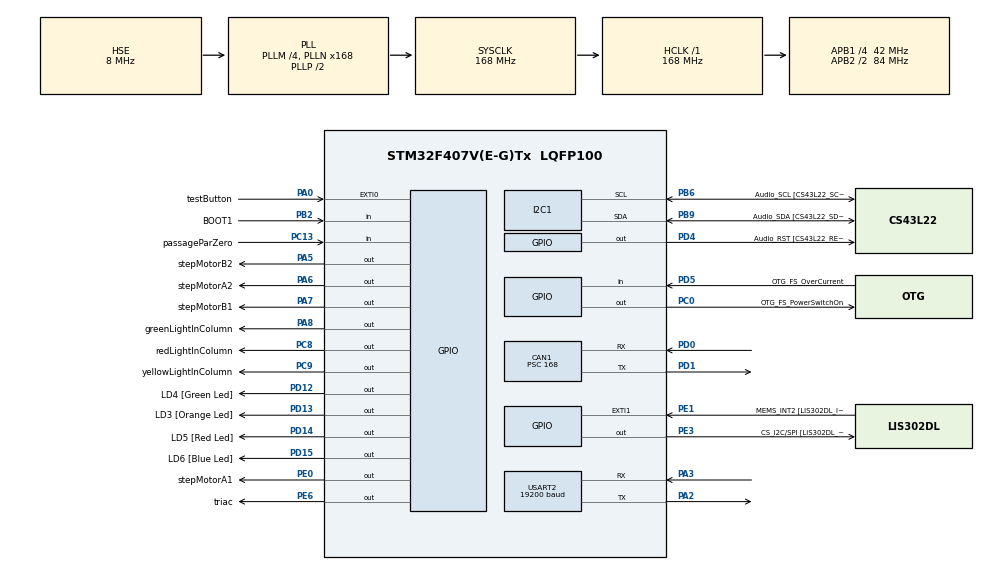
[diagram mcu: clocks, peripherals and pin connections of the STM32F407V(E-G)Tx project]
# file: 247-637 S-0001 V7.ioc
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Mcu.Family=STM32F4
PA11.GPIO_Speed=GPIO_SPEED_FREQ_LOW
PC3.GPIO_Mode=GPIO_MODE_AF_PP
PD12.GPIO_Label=LD4 [Green Led]
PH0-OSC_IN.Signal=RCC_OSC_IN
RCC.CortexFreq_Value=168000000
PC10.GPIO_PuPd=GPIO_NOPULL
PB10.GPIO_Speed=GPIO_SPEED_FREQ_LOW
PB6.GPIO_Mode=GPIO_MODE_AF_OD
PB10.GPIO_PuPd=GPIO_NOPULL
NVIC.TIM6_DAC_IRQn=true\:0\:0\:false\:false\:true\:true\:true
PA10.GPIO_PuPd=GPIO_NOPULL
PD15.GPIO_Speed=GPIO_SPEED_FREQ_LOW
PC10.Signal=I2S3_CK
PC12.Signal=I2S3_SD
PA14.GPIO_Label=SWCLK
PC0.GPIO_Label=OTG_FS_PowerSwitchOn
PA6.GPIO_Label=stepMotorA2
PB6.GPIO_Label=Audio_SCL [CS43L22_SCL]
PC10.GPIO_Speed=GPIO_SPEED_FREQ_LOW
PA11.GPIO_PuPd=GPIO_NOPULL
PC15-OSC32_OUT.GPIO_Label=PC15-OSC32_OUT
PE6.GPIO_Label=triac
PC3.GPIO_Speed=GPIO_SPEED_FREQ_LOW
RCC.SYSCLKSource=RCC_SYSCLKSOURCE_PLLCLK
ProjectManager.StackSize=0x400
PD13.Signal=GPIO_Output
PD14.GPIO_Speed=GPIO_SPEED_FREQ_LOW
PA12.Signal=USB_OTG_FS_DP
RCC.HCLKFreq_Value=168000000
PD4.Signal=GPIO_Output
RCC.APB2TimFreq_Value=168000000
PB6.Signal=I2C1_SCL
PC7.Signal=I2S3_MCK
PB6.Mode=I2C
PC3.Signal=I2S2_SD
PD0.Signal=CAN1_RX
PE1.Signal=GPXTI1
RCC.AHBFreq_Value=168000000
PH0-OSC_IN.Mode=HSE-External-Oscillator
PH0-OSC_IN.GPIO_Label=PH0-OSC_IN
PA9.GPIO_Mode=GPIO_MODE_INPUT
RCC.HSE_VALUE=8000000
PB2.Signal=GPIO_Input
PC13-ANTI_TAMP.Signal=GPIO_Input
PA10.GPIO_Label=OTG_FS_ID
PC7.GPIO_Mode=GPIO_MODE_AF_PP
PD5.GPIO_Mode=GPIO_MODE_INPUT
PD14.GPIO_PuPd=GPIO_NOPULL
PA8.Signal=GPIO_Output
TIM6.Period=PILOTETIMER6UP_COMPTE_MAXIMAL
PB2.GPIO_PuPd=GPIO_NOPULL
PH1-OSC_OUT.Mode=HSE-External-Oscillator
PD13.GPIO_Label=LD3 [Orange Led]
CAN1.Prescaler=168
Mcu.Package=LQFP100
PB9.Signal=I2C1_SDA
PA6.Signal=GPIO_Output
USART2.VirtualMode=VM_ASYNC
PD12.Signal=GPIO_Output
PD5.GPIO_Label=OTG_FS_OverCurrent
PD15.GPIO_PuPd=GPIO_NOPULL
PA10.Signal=USB_OTG_FS_ID
PB9.GPIO_PuPd=GPIO_NOPULL
PE0.GPIO_Label=stepMotorA1
PA10.GPIO_Speed=GPIO_SPEED_FREQ_LOW
RCC.APB2CLKDivider=RCC_HCLK_DIV2
PB9.GPIO_Speed=GPIO_SPEED_FREQ_LOW
RCC.APB1TimFreq_Value=84000000
PC14-OSC32_IN.GPIO_Label=PC14-OSC32_IN
PC12.GPIO_PuPd=GPIO_NOPULL
PC0.GPIO_PuPd=GPIO_NOPULL
PA12.GPIO_PuPd=GPIO_NOPULL
PD15.Signal=GPIO_Output
PC0.PinState=GPIO_PIN_SET
PA12.GPIO_Speed=GPIO_SPEED_FREQ_LOW
PA3.Signal=USART2_RX
CAN1.CalculateTimeQuantum=4000.0
PB3.GPIO_Label=SWO
RCC.PLLSourceVirtual=RCC_PLLSOURCE_HSE
PD12.GPIO_Speed=GPIO_SPEED_FREQ_LOW
PD15.GPIO_Label=LD6 [Blue Led]
PB9.GPIO_Label=Audio_SDA [CS43L22_SDA]
PC10.GPIO_Label=I2S3_SCK [CS43L22_SCLK]
PC9.GPIO_Label=yellowLightInColumn
PC13-ANTI_TAMP.GPIO_Label=passageParZero
PA9.GPIO_Label=VBUS_FS
PB6.GPIO_PuPd=GPIO_NOPULL
PC8.Signal=GPIO_Output
VP_TIM6_VS_ClockSourceINT.Mode=Enable_Timer
PD1.Signal=CAN1_TX
PA11.GPIO_Label=OTG_FS_DM
PE1.GPIO_PuPd=GPIO_NOPULL
PD5.Signal=GPIO_Input
PC0.Signal=GPIO_Output
PE1.GPIO_ModeDefaultEXTI=GPIO_MODE_EVT_RISING
RCC.APB1CLKDivider=RCC_HCLK_DIV4
PC14-OSC32_IN.Signal=RCC_OSC32_IN
PA9.GPIO_PuPd=GPIO_NOPULL
USART2.BaudRate=19200
PA12.GPIO_Label=OTG_FS_DP
PA0-WKUP.GPIO_Label=testButton
PA0-WKUP.Signal=GPXTI0
PA10.GPIO_Mode=GPIO_MODE_AF_PP
PC8.GPIO_Label=redLightInColumn
PA3.Mode=Asynchronous
PA13.Signal=SYS_JTMS-SWDIO
PC10.GPIO_Mode=GPIO_MODE_AF_PP
PD4.GPIO_PuPd=GPIO_NOPULL
PC0.GPIO_Speed=GPIO_SPEED_FREQ_LOW
PB10.GPIO_Mode=GPIO_MODE_AF_PP
PA8.GPIO_Label=greenLightInColumn
CAN1.BS1=CAN_BS1_3TQ
ProjectManager.TargetToolchain=EWARM V7
PB10.GPIO_Label=CLK_IN [MP45DT02_CLK]
PB9.Mode=I2C
PA9.Signal=USB_OTG_FS_VBUS
PC7.GPIO_PuPd=GPIO_NOPULL
RCC.LSE_VALUE=32768
PC15-OSC32_OUT.Signal=RCC_OSC32_OUT
PB10.Signal=I2S2_CK
PA5.Signal=GPIO_Output
board=STM32F407G-DISC1
PD13.GPIO_Speed=GPIO_SPEED_FREQ_LOW
PC7.GPIO_Speed=GPIO_SPEED_FREQ_LOW
RCC.VCOOutputFreq_Value=336000000
PE1.GPIO_Label=MEMS_INT2 [LIS302DL_INT2]
PD1.Mode=Master
PB9.GPIO_Mode=GPIO_MODE_AF_OD
PA12.GPIO_Mode=GPIO_MODE_AF_PP
RCC.APB2Freq_Value=84000000
PB2.GPIO_Mode=GPIO_MODE_INPUT
PD4.GPIO_Label=Audio_RST [CS43L22_RESET]
PD4.GPIO_Speed=GPIO_SPEED_FREQ_LOW
CAN1.Mode=CAN_MODE_LOOPBACK
TIM6.TIM_MasterOutputTrigger=TIM_TRGO_ENABLE
PE3.GPIO_PuPd=GPIO_NOPULL
PH1-OSC_OUT.Signal=RCC_OSC_OUT
PD13.GPIO_PuPd=GPIO_NOPULL
PD5.GPIO_PuPd=GPIO_NOPULL
PD14.GPIO_Label=LD5 [Red Led]
PH1-OSC_OUT.GPIO_Label=PH1-OSC_OUT
PE6.Signal=GPIO_Output
Mcu.Name=STM32F407V(E-G)Tx
PE0.Signal=GPIO_Output
PD0.Mode=Master
PA2.Signal=USART2_TX
PA13.GPIO_Label=SWDIO
PC7.GPIO_Label=I2S3_MCK [CS43L22_MCLK]
PD14.Signal=GPIO_Output
RCC.48MHZClocksFreq_Value=48000000
PB3.Signal=SYS_JTDO-SWO
RCC.SYSCLKFreq_VALUE=168000000
PC12.GPIO_Mode=GPIO_MODE_AF_PP
PA7.GPIO_Label=stepMotorB1
PA5.GPIO_Label=stepMotorB2
PE3.GPIO_Speed=GPIO_SPEED_FREQ_LOW
PC12.GPIO_Label=I2S3_SD [CS43L22_SDIN]
PA11.Signal=USB_OTG_FS_DM
PA14.Signal=SYS_JTCK-SWCLK
PB2.GPIO_Label=BOOT1
ProjectManager.HeapSize=0x200
RCC.HSI_VALUE=16000000
RCC.PLLQ=7
NVIC.PriorityGroup=NVIC_PRIORITYGROUP_0
RCC.PLLM=4
RCC.PLLN=168
PE3.Signal=GPIO_Output
PA2.Mode=Asynchronous
PE3.GPIO_Label=CS_I2C/SPI [LIS302DL_CS_I2C/SPI]
PC3.GPIO_Label=PDM_OUT [MP45DT02_DOUT]
PC9.Signal=GPIO_Output
PA11.GPIO_Mode=GPIO_MODE_AF_PP
PB6.GPIO_Speed=GPIO_SPEED_FREQ_LOW
RCC.APB1Freq_Value=42000000
PC12.GPIO_Speed=GPIO_SPEED_FREQ_LOW
PC3.GPIO_PuPd=GPIO_NOPULL
PD12.GPIO_PuPd=GPIO_NOPULL
PA7.Signal=GPIO_Output

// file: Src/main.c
/* USER CODE BEGIN Header */
/**
  ******************************************************************************
  * @file           : main.c
  * @brief          : Main program body
  ******************************************************************************
  * @attention
  *
  * <h2><center>&copy; Copyright (c) 2019 STMicroelectronics.
  * All rights reserved.</center></h2>
  *
  * This software component is licensed by ST under BSD 3-Clause license,
  * the "License"; You may not use this file except in compliance with the
  * License. You may obtain a copy of the License at:
  *                        opensource.org/licenses/BSD-3-Clause
  *
  ******************************************************************************
  */
/* USER CODE END Header */

#include "main.h"

/* USER CODE BEGIN Includes */
//S-0010:
//Historique:
// 2019-10-27, Yves Roy, creation
// 2020-11-18, John-William Lebel, modification with CubeMX, removed files, added files, modified files
// 2020-11-21, John-William Lebel, significant mods

//notes sur l'utilisation des timers.
// https://www.st.com/content/ccc/resource/technical/document/application_note/group0/91/01/84/3f/7c/67/41/3f/DM00236305/files/DM00236305.pdf/jcr:content/translations/en.DM00236305.pdf
//https://stm32f4-discovery.net/2014/05/stm32f4-stm32f429-discovery-pwm-tutorial/
//timer 6 sur APB1
//timer_tick_frequency = Timer_default_frequency / (prescaller_set + 1)
//default_frequency = 84MHz compte tenu des options choisies avec le "cube"
//TIM_Period = timer_tick_frequency / TIM_frequency - 1
//il faut s'assurer que le compte pour la periode est plus petit que 65536

#include "driver/timer/piloteTimer6Up.h"
#include "driver/communication/piloteCAN1.h"

#include "interface/carteIO/interface_mcp3021.h"
#include "interface/carteIO/interface_pcf8574A.h"
#include "interface/carteTriac/interface_stepperMotor.h"

#include "service/baseDeTemps/serviceBaseDeTemps.h"
#include "service/communication/service_can.h"
#include "service/appInput/service_applicationInputHandler.h"
#include "service/appOutput/service_applicationOutputHandler.h"

#include "process/centreDeTri/process_centreDeTri.h"

/* USER CODE END Includes */

CAN_HandleTypeDef hcan1;

I2C_HandleTypeDef hi2c1;

TIM_HandleTypeDef htim6;

UART_HandleTypeDef huart2;

/* USER CODE BEGIN PV */
/* Private variables ---------------------------------------------------------*/

/* USER CODE END PV */

void SystemClock_Config(void);
static void MX_GPIO_Init(void);
static void MX_USART2_UART_Init(void);
static void MX_TIM6_Init(void);
static void MX_CAN1_Init(void);
static void MX_I2C1_Init(void);
/* USER CODE BEGIN PFP */
/* Private function prototypes -----------------------------------------------*/
void main_initialiseAvantLeHAL(void);
void main_initialiseApresLeHAL(void);
/* USER CODE END PFP */

/* USER CODE BEGIN 0 */
void main_initialiseAvantLeHAL(void) {
    piloteTimer6Up_initialise();
    piloteCAN1_initialise();

    serviceBaseDeTemps_initialise();
}

void main_initialiseApresLeHAL(void) {
  piloteCAN1_initialise();
  piloteTimer6Up_permetLesInterruptions();

  interface_mcp3021_init();
  interface_pcf8574A_init();
  interface_stepperMotor_init();

  service_applicationInputHandler_init();
  service_applicationOutputHandler_init();

  process_centreDeTri_init();
}

void neFaitRien(void) {}
/* USER CODE END 0 */

int main(void)
{
  /* USER CODE BEGIN 1 */
  main_initialiseAvantLeHAL();
  /* USER CODE END 1 */

  /* MCU Configuration--------------------------------------------------------*/

  /* Reset of all peripherals, Initializes the Flash interface and the Systick. */
  HAL_Init();

  /* Configure the system clock */
  SystemClock_Config();

  /* Initialize all configured peripherals */
  MX_GPIO_Init();
  MX_USART2_UART_Init();
  MX_TIM6_Init();
  MX_CAN1_Init();
  MX_I2C1_Init();
  /* USER CODE BEGIN 2 */
  main_initialiseApresLeHAL();

  /* USER CODE END 2 */

  /* Infinite loop */
  /* USER CODE BEGIN WHILE */
  while (1) {
    // program behaviour handled in timer and interrupts
    /* USER CODE END WHILE */

  }
}

void SystemClock_Config(void)
{
  RCC_OscInitTypeDef RCC_OscInitStruct = {0};
  RCC_ClkInitTypeDef RCC_ClkInitStruct = {0};

  /** Configure the main internal regulator output voltage
  */
  __HAL_RCC_PWR_CLK_ENABLE();
  __HAL_PWR_VOLTAGESCALING_CONFIG(PWR_REGULATOR_VOLTAGE_SCALE1);
  /** Initializes the CPU, AHB and APB busses clocks
  */
  RCC_OscInitStruct.OscillatorType = RCC_OSCILLATORTYPE_HSE;
  RCC_OscInitStruct.HSEState = RCC_HSE_ON;
  RCC_OscInitStruct.PLL.PLLState = RCC_PLL_ON;
  RCC_OscInitStruct.PLL.PLLSource = RCC_PLLSOURCE_HSE;
  RCC_OscInitStruct.PLL.PLLM = 4;
  RCC_OscInitStruct.PLL.PLLN = 168;
  RCC_OscInitStruct.PLL.PLLP = RCC_PLLP_DIV2;
  RCC_OscInitStruct.PLL.PLLQ = 7;
  if (HAL_RCC_OscConfig(&RCC_OscInitStruct) != HAL_OK)
  {
    Error_Handler();
  }
  /** Initializes the CPU, AHB and APB busses clocks
  */
  RCC_ClkInitStruct.ClockType = RCC_CLOCKTYPE_HCLK|RCC_CLOCKTYPE_SYSCLK
                              |RCC_CLOCKTYPE_PCLK1|RCC_CLOCKTYPE_PCLK2;
  RCC_ClkInitStruct.SYSCLKSource = RCC_SYSCLKSOURCE_PLLCLK;
  RCC_ClkInitStruct.AHBCLKDivider = RCC_SYSCLK_DIV1;
  RCC_ClkInitStruct.APB1CLKDivider = RCC_HCLK_DIV4;
  RCC_ClkInitStruct.APB2CLKDivider = RCC_HCLK_DIV2;

  if (HAL_RCC_ClockConfig(&RCC_ClkInitStruct, FLASH_LATENCY_5) != HAL_OK)
  {
    Error_Handler();
  }
}

static void MX_CAN1_Init(void)
{

  hcan1.Instance = CAN1;
  hcan1.Init.Prescaler = 168;
  hcan1.Init.Mode = CAN_MODE_LOOPBACK;
  hcan1.Init.SyncJumpWidth = CAN_SJW_1TQ;
  hcan1.Init.TimeSeg1 = CAN_BS1_3TQ;
  hcan1.Init.TimeSeg2 = CAN_BS2_1TQ;
  hcan1.Init.TimeTriggeredMode = DISABLE;
  hcan1.Init.AutoBusOff = DISABLE;
  hcan1.Init.AutoWakeUp = DISABLE;
  hcan1.Init.AutoRetransmission = DISABLE;
  hcan1.Init.ReceiveFifoLocked = DISABLE;
  hcan1.Init.TransmitFifoPriority = DISABLE;
  if (HAL_CAN_Init(&hcan1) != HAL_OK)
  {
    Error_Handler();
  }
  /* USER CODE BEGIN CAN1_Init 2 */
  hcan1.Init.Mode = CAN_MODE_NORMAL;
  /* USER CODE END CAN1_Init 2 */

}

static void MX_I2C1_Init(void)
{

  hi2c1.Instance = I2C1;
  hi2c1.Init.ClockSpeed = 100000;
  hi2c1.Init.DutyCycle = I2C_DUTYCYCLE_2;
  hi2c1.Init.OwnAddress1 = 0;
  hi2c1.Init.AddressingMode = I2C_ADDRESSINGMODE_7BIT;
  hi2c1.Init.DualAddressMode = I2C_DUALADDRESS_DISABLE;
  hi2c1.Init.OwnAddress2 = 0;
  hi2c1.Init.GeneralCallMode = I2C_GENERALCALL_DISABLE;
  hi2c1.Init.NoStretchMode = I2C_NOSTRETCH_DISABLE;
  if (HAL_I2C_Init(&hi2c1) != HAL_OK)
  {
    Error_Handler();
  }

}

static void MX_TIM6_Init(void)
{

  TIM_MasterConfigTypeDef sMasterConfig = {0};

  htim6.Instance = TIM6;
  htim6.Init.Prescaler = 0;
  htim6.Init.CounterMode = TIM_COUNTERMODE_UP;
  htim6.Init.Period = PILOTETIMER6UP_COMPTE_MAXIMAL;
  htim6.Init.AutoReloadPreload = TIM_AUTORELOAD_PRELOAD_DISABLE;
  if (HAL_TIM_Base_Init(&htim6) != HAL_OK)
  {
    Error_Handler();
  }
  sMasterConfig.MasterOutputTrigger = TIM_TRGO_ENABLE;
  sMasterConfig.MasterSlaveMode = TIM_MASTERSLAVEMODE_DISABLE;
  if (HAL_TIMEx_MasterConfigSynchronization(&htim6, &sMasterConfig) != HAL_OK)
  {
    Error_Handler();
  }

}

static void MX_USART2_UART_Init(void)
{

  huart2.Instance = USART2;
  huart2.Init.BaudRate = 19200;
  huart2.Init.WordLength = UART_WORDLENGTH_8B;
  huart2.Init.StopBits = UART_STOPBITS_1;
  huart2.Init.Parity = UART_PARITY_NONE;
  huart2.Init.Mode = UART_MODE_TX_RX;
  huart2.Init.HwFlowCtl = UART_HWCONTROL_NONE;
  huart2.Init.OverSampling = UART_OVERSAMPLING_16;
  if (HAL_UART_Init(&huart2) != HAL_OK)
  {
    Error_Handler();
  }

}

static void MX_GPIO_Init(void)
{
  GPIO_InitTypeDef GPIO_InitStruct = {0};

  /* GPIO Ports Clock Enable */
  __HAL_RCC_GPIOE_CLK_ENABLE();
  __HAL_RCC_GPIOC_CLK_ENABLE();
  __HAL_RCC_GPIOH_CLK_ENABLE();
  __HAL_RCC_GPIOA_CLK_ENABLE();
  __HAL_RCC_GPIOB_CLK_ENABLE();
  __HAL_RCC_GPIOD_CLK_ENABLE();

  /*Configure GPIO pin Output Level */
  HAL_GPIO_WritePin(GPIOE, CS_I2C_SPI_Pin|triac_Pin|stepMotorA1_Pin, GPIO_PIN_RESET);

  /*Configure GPIO pin Output Level */
  HAL_GPIO_WritePin(OTG_FS_PowerSwitchOn_GPIO_Port, OTG_FS_PowerSwitchOn_Pin, GPIO_PIN_SET);

  /*Configure GPIO pin Output Level */
  HAL_GPIO_WritePin(GPIOA, stepMotorB2_Pin|stepMotorA2_Pin|stepMotorB1_Pin|greenLightInColumn_Pin, GPIO_PIN_RESET);

  /*Configure GPIO pin Output Level */
  HAL_GPIO_WritePin(GPIOD, LD4_Pin|LD3_Pin|LD5_Pin|LD6_Pin
                          |Audio_RST_Pin, GPIO_PIN_RESET);

  /*Configure GPIO pin Output Level */
  HAL_GPIO_WritePin(GPIOC, redLightInColumn_Pin|yellowLightInColumn_Pin, GPIO_PIN_RESET);

  /*Configure GPIO pins : CS_I2C_SPI_Pin triac_Pin stepMotorA1_Pin */
  GPIO_InitStruct.Pin = CS_I2C_SPI_Pin|triac_Pin|stepMotorA1_Pin;
  GPIO_InitStruct.Mode = GPIO_MODE_OUTPUT_PP;
  GPIO_InitStruct.Pull = GPIO_NOPULL;
  GPIO_InitStruct.Speed = GPIO_SPEED_FREQ_LOW;
  HAL_GPIO_Init(GPIOE, &GPIO_InitStruct);

  /*Configure GPIO pin : passageParZero_Pin */
  GPIO_InitStruct.Pin = passageParZero_Pin;
  GPIO_InitStruct.Mode = GPIO_MODE_INPUT;
  GPIO_InitStruct.Pull = GPIO_NOPULL;
  HAL_GPIO_Init(passageParZero_GPIO_Port, &GPIO_InitStruct);

  /*Configure GPIO pins : OTG_FS_PowerSwitchOn_Pin redLightInColumn_Pin yellowLightInColumn_Pin */
  GPIO_InitStruct.Pin = OTG_FS_PowerSwitchOn_Pin|redLightInColumn_Pin|yellowLightInColumn_Pin;
  GPIO_InitStruct.Mode = GPIO_MODE_OUTPUT_PP;
  GPIO_InitStruct.Pull = GPIO_NOPULL;
  GPIO_InitStruct.Speed = GPIO_SPEED_FREQ_LOW;
  HAL_GPIO_Init(GPIOC, &GPIO_InitStruct);

  /*Configure GPIO pin : PDM_OUT_Pin */
  GPIO_InitStruct.Pin = PDM_OUT_Pin;
  GPIO_InitStruct.Mode = GPIO_MODE_AF_PP;
  GPIO_InitStruct.Pull = GPIO_NOPULL;
  GPIO_InitStruct.Speed = GPIO_SPEED_FREQ_LOW;
  GPIO_InitStruct.Alternate = GPIO_AF5_SPI2;
  HAL_GPIO_Init(PDM_OUT_GPIO_Port, &GPIO_InitStruct);

  /*Configure GPIO pin : testButton_Pin */
  GPIO_InitStruct.Pin = testButton_Pin;
  GPIO_InitStruct.Mode = GPIO_MODE_IT_RISING;
  GPIO_InitStruct.Pull = GPIO_NOPULL;
  HAL_GPIO_Init(testButton_GPIO_Port, &GPIO_InitStruct);

  /*Configure GPIO pins : stepMotorB2_Pin stepMotorA2_Pin stepMotorB1_Pin greenLightInColumn_Pin */
  GPIO_InitStruct.Pin = stepMotorB2_Pin|stepMotorA2_Pin|stepMotorB1_Pin|greenLightInColumn_Pin;
  GPIO_InitStruct.Mode = GPIO_MODE_OUTPUT_PP;
  GPIO_InitStruct.Pull = GPIO_NOPULL;
  GPIO_InitStruct.Speed = GPIO_SPEED_FREQ_LOW;
  HAL_GPIO_Init(GPIOA, &GPIO_InitStruct);

  /*Configure GPIO pin : BOOT1_Pin */
  GPIO_InitStruct.Pin = BOOT1_Pin;
  GPIO_InitStruct.Mode = GPIO_MODE_INPUT;
  GPIO_InitStruct.Pull = GPIO_NOPULL;
  HAL_GPIO_Init(BOOT1_GPIO_Port, &GPIO_InitStruct);

  /*Configure GPIO pin : CLK_IN_Pin */
  GPIO_InitStruct.Pin = CLK_IN_Pin;
  GPIO_InitStruct.Mode = GPIO_MODE_AF_PP;
  GPIO_InitStruct.Pull = GPIO_NOPULL;
  GPIO_InitStruct.Speed = GPIO_SPEED_FREQ_LOW;
  GPIO_InitStruct.Alternate = GPIO_AF5_SPI2;
  HAL_GPIO_Init(CLK_IN_GPIO_Port, &GPIO_InitStruct);

  /*Configure GPIO pins : LD4_Pin LD3_Pin LD5_Pin LD6_Pin
                           Audio_RST_Pin */
  GPIO_InitStruct.Pin = LD4_Pin|LD3_Pin|LD5_Pin|LD6_Pin
                          |Audio_RST_Pin;
  GPIO_InitStruct.Mode = GPIO_MODE_OUTPUT_PP;
  GPIO_InitStruct.Pull = GPIO_NOPULL;
  GPIO_InitStruct.Speed = GPIO_SPEED_FREQ_LOW;
  HAL_GPIO_Init(GPIOD, &GPIO_InitStruct);

  /*Configure GPIO pins : I2S3_MCK_Pin I2S3_SCK_Pin I2S3_SD_Pin */
  GPIO_InitStruct.Pin = I2S3_MCK_Pin|I2S3_SCK_Pin|I2S3_SD_Pin;
  GPIO_InitStruct.Mode = GPIO_MODE_AF_PP;
  GPIO_InitStruct.Pull = GPIO_NOPULL;
  GPIO_InitStruct.Speed = GPIO_SPEED_FREQ_LOW;
  GPIO_InitStruct.Alternate = GPIO_AF6_SPI3;
  HAL_GPIO_Init(GPIOC, &GPIO_InitStruct);

  /*Configure GPIO pin : VBUS_FS_Pin */
  GPIO_InitStruct.Pin = VBUS_FS_Pin;
  GPIO_InitStruct.Mode = GPIO_MODE_INPUT;
  GPIO_InitStruct.Pull = GPIO_NOPULL;
  HAL_GPIO_Init(VBUS_FS_GPIO_Port, &GPIO_InitStruct);

  /*Configure GPIO pins : OTG_FS_ID_Pin OTG_FS_DM_Pin OTG_FS_DP_Pin */
  GPIO_InitStruct.Pin = OTG_FS_ID_Pin|OTG_FS_DM_Pin|OTG_FS_DP_Pin;
  GPIO_InitStruct.Mode = GPIO_MODE_AF_PP;
  GPIO_InitStruct.Pull = GPIO_NOPULL;
  GPIO_InitStruct.Speed = GPIO_SPEED_FREQ_LOW;
  GPIO_InitStruct.Alternate = GPIO_AF10_OTG_FS;
  HAL_GPIO_Init(GPIOA, &GPIO_InitStruct);

  /*Configure GPIO pin : OTG_FS_OverCurrent_Pin */
  GPIO_InitStruct.Pin = OTG_FS_OverCurrent_Pin;
  GPIO_InitStruct.Mode = GPIO_MODE_INPUT;
  GPIO_InitStruct.Pull = GPIO_NOPULL;
  HAL_GPIO_Init(OTG_FS_OverCurrent_GPIO_Port, &GPIO_InitStruct);

  /*Configure GPIO pin : MEMS_INT2_Pin */
  GPIO_InitStruct.Pin = MEMS_INT2_Pin;
  GPIO_InitStruct.Mode = GPIO_MODE_EVT_RISING;
  GPIO_InitStruct.Pull = GPIO_NOPULL;
  HAL_GPIO_Init(MEMS_INT2_GPIO_Port, &GPIO_InitStruct);

}

void Error_Handler(void)
{
  while(1)
  {
  }
}

/************************ (C) COPYRIGHT STMicroelectronics *****END OF FILE****/
